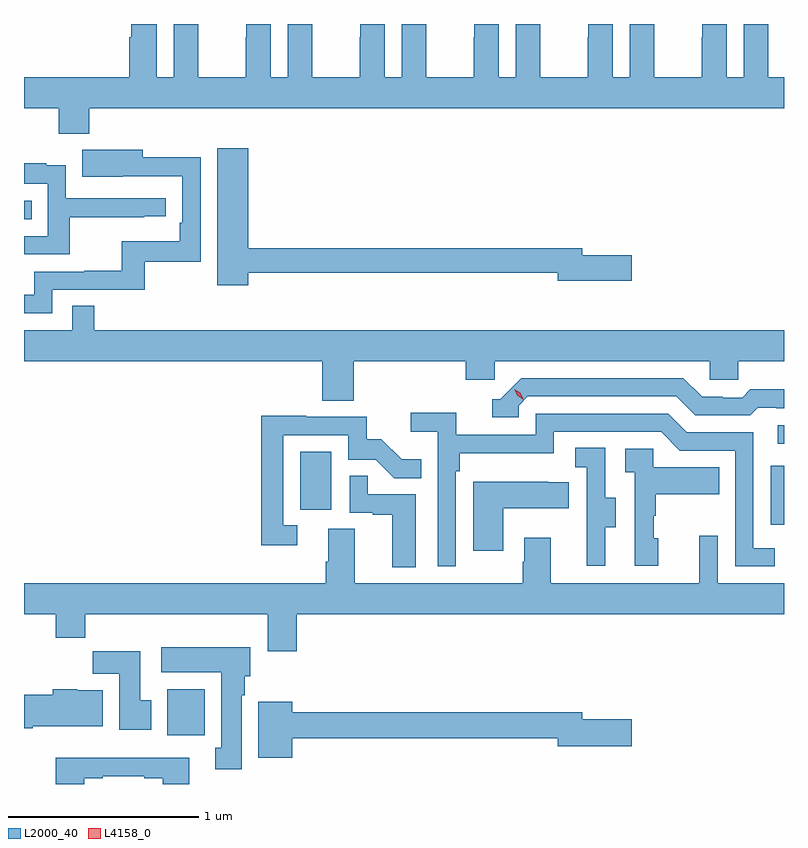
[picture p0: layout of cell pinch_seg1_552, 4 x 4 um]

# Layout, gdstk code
import gdstk
lib = gdstk.Library(unit=1e-6, precision=1e-09)
def R(c, l, rs):  # rectangles x0, y0, x1, y1
    for r in rs: c.add(gdstk.rectangle(r[:2], r[2:], *l))
def P(c, l, *ps):  # polygons
    for p in ps: c.add(gdstk.Polygon(p, *l))
L2000_40 = (2000, 40)
L4158_0 = (4158, 0)

pinch_seg1_552 = lib.new_cell('pinch_seg1_552')
R(pinch_seg1_552, L2000_40, [(1044.629,539.108,1044.826,539.35), (1047.804,540.216,1047.875,540.526), (1045.328,540.294,1045.492,540.601), (1047.843,540.642,1047.875,540.738), (1043.875,541.824,1043.915,541.92)])
P(pinch_seg1_552, L2000_40, [(1047.875,542.572),(1047.793,542.572),(1047.793,542.78),(1047.792,542.78),(1047.792,542.851),(1047.662,542.851),(1047.662,542.572),(1047.574,542.572),(1047.574,542.851),(1047.444,542.851),(1047.444,542.78),(1047.443,542.78),(1047.443,542.572),(1047.193,542.572),(1047.193,542.78),(1047.192,542.78),(1047.192,542.851),(1047.062,542.851),(1047.062,542.572),(1046.974,542.572),(1046.974,542.851),(1046.844,542.851),(1046.844,542.78),(1046.843,542.78),(1046.843,542.572),(1046.593,542.572),(1046.593,542.78),(1046.592,542.78),(1046.592,542.851),(1046.462,542.851),(1046.462,542.572),(1046.374,542.572),(1046.374,542.851),(1046.244,542.851),(1046.244,542.78),(1046.243,542.78),(1046.243,542.572),(1045.993,542.572),(1045.993,542.78),(1045.992,542.78),(1045.992,542.851),(1045.862,542.851),(1045.862,542.572),(1045.774,542.572),(1045.774,542.851),(1045.644,542.851),(1045.644,542.78),(1045.643,542.78),(1045.643,542.572),(1045.393,542.572),(1045.393,542.78),(1045.392,542.78),(1045.392,542.851),(1045.262,542.851),(1045.262,542.572),(1045.174,542.572),(1045.174,542.851),(1045.044,542.851),(1045.044,542.78),(1045.043,542.78),(1045.043,542.572),(1044.793,542.572),(1044.793,542.78),(1044.792,542.78),(1044.792,542.851),(1044.662,542.851),(1044.662,542.572),(1044.574,542.572),(1044.574,542.851),(1044.44,542.851),(1044.44,542.78),(1044.43,542.78),(1044.43,542.572),(1043.875,542.572),(1043.875,542.408),(1044.058,542.408),(1044.058,542.273),(1044.218,542.273),(1044.218,542.408),(1047.875,542.408)],
  [(1045.054,541.542),(1046.684,541.542),(1046.684,541.499),(1047.073,541.499),(1047.073,541.634),(1046.812,541.634),(1046.812,541.67),(1045.054,541.67),(1045.054,542.197),(1044.893,542.197),(1044.893,541.476),(1045.054,541.476)],
  [(1044.024,541.452),(1044.511,541.452),(1044.511,541.599),(1044.804,541.599),(1044.804,542.15),(1044.499,542.15),(1044.499,542.188),(1044.181,542.188),(1044.181,542.048),(1044.395,542.048),(1044.395,542.049),(1044.708,542.049),(1044.708,541.804),(1044.695,541.804),(1044.695,541.708),(1044.39,541.708),(1044.39,541.553),(1044.193,541.553),(1044.193,541.548),(1043.928,541.548),(1043.928,541.425),(1043.875,541.425),(1043.875,541.329),(1044.024,541.329)],
  [(1044.116,541.834),(1044.509,541.834),(1044.509,541.839),(1044.622,541.839),(1044.622,541.935),(1044.096,541.935),(1044.096,542.107),(1043.993,542.107),(1043.993,542.119),(1043.875,542.119),(1043.875,542.01),(1044,542.01),(1044,541.734),(1043.875,541.734),(1043.875,541.638),(1044.116,541.638)],
  [(1045.61,541.076),(1046.201,541.076),(1046.201,540.978),(1046.352,540.978),(1046.352,541.076),(1047.483,541.076),(1047.483,540.978),(1047.633,540.978),(1047.633,541.076),(1047.875,541.076),(1047.875,541.24),(1044.245,541.24),(1044.245,541.367),(1044.129,541.367),(1044.129,541.24),(1043.875,541.24),(1043.875,541.076),(1045.445,541.076),(1045.445,540.868),(1045.61,540.868)],
  [(1046.478,540.843),(1046.526,540.891),(1047.309,540.891),(1047.408,540.792),(1047.697,540.792),(1047.736,540.831),(1047.835,540.831),(1047.835,540.828),(1047.875,540.828),(1047.875,540.928),(1047.697,540.928),(1047.655,540.885),(1047.552,540.885),(1047.552,540.888),(1047.445,540.888),(1047.346,540.987),(1046.493,540.987),(1046.382,540.876),(1046.339,540.876),(1046.339,540.78),(1046.478,540.78)],
  [(1046.148,540.497),(1046.168,540.497),(1046.168,540.593),(1046.664,540.593),(1046.664,540.705),(1047.228,540.705),(1047.327,540.606),(1047.618,540.606),(1047.618,539.997),(1047.827,539.997),(1047.827,540.093),(1047.714,540.093),(1047.714,540.702),(1047.364,540.702),(1047.265,540.801),(1046.568,540.801),(1046.568,540.69),(1046.15,540.69),(1046.15,540.806),(1045.911,540.806),(1045.911,540.704),(1046.052,540.704),(1046.052,539.997),(1046.148,539.997)],
  [(1045.312,540.213),(1045.239,540.213),(1045.239,540.687),(1045.581,540.687),(1045.581,540.558),(1045.726,540.558),(1045.824,540.46),(1045.967,540.46),(1045.967,540.559),(1045.863,540.559),(1045.756,540.666),(1045.68,540.666),(1045.68,540.783),(1045.361,540.783),(1045.361,540.788),(1045.123,540.788),(1045.123,540.108),(1045.312,540.108)],
  [(1046.935,540.202),(1046.989,540.202),(1046.989,540.357),(1046.934,540.357),(1046.934,540.62),(1046.775,540.62),(1046.775,540.517),(1046.838,540.517),(1046.838,540.213),(1046.837,540.213),(1046.837,540),(1046.935,540)],
  [(1047.214,540.144),(1047.189,540.144),(1047.189,540.263),(1047.199,540.263),(1047.199,540.377),(1047.533,540.377),(1047.533,540.517),(1047.186,540.517),(1047.186,540.615),(1047.039,540.615),(1047.039,540.491),(1047.09,540.491),(1047.09,540),(1047.214,540)],
  [(1045.936,540.375),(1045.685,540.375),(1045.685,540.473),(1045.59,540.473),(1045.59,540.279),(1045.711,540.279),(1045.711,540.267),(1045.814,540.267),(1045.814,539.993),(1045.936,539.993)],
  [(1046.398,540.302),(1046.741,540.302),(1046.741,540.439),(1046.633,540.439),(1046.633,540.442),(1046.24,540.442),(1046.24,540.078),(1046.398,540.078)],
  [(1047.875,539.908),(1047.525,539.908),(1047.525,540.157),(1047.428,540.157),(1047.428,539.908),(1046.647,539.908),(1046.647,540.148),(1046.507,540.148),(1046.507,540.02),(1046.5,540.02),(1046.5,539.908),(1045.615,539.908),(1045.615,540.194),(1045.475,540.194),(1045.475,540.02),(1045.463,540.02),(1045.463,539.908),(1043.875,539.908),(1043.875,539.744),(1044.041,539.744),(1044.041,539.62),(1044.197,539.62),(1044.197,539.744),(1045.157,539.744),(1045.157,539.55),(1045.31,539.55),(1045.31,539.744),(1047.875,539.744)],
  [(1045.021,539.318),(1045.036,539.318),(1045.036,539.418),(1045.066,539.418),(1045.066,539.572),(1044.597,539.572),(1044.597,539.438),(1044.914,539.438),(1044.914,539.042),(1044.881,539.042),(1044.881,538.929),(1045.021,538.929)],
  [(1044.544,539.292),(1044.487,539.292),(1044.487,539.551),(1044.238,539.551),(1044.238,539.432),(1044.377,539.432),(1044.377,539.136),(1044.544,539.136)],
  [(1043.92,539.156),(1044.289,539.156),(1044.289,539.344),(1044.156,539.344),(1044.156,539.35),(1044.026,539.35),(1044.026,539.322),(1043.875,539.322),(1043.875,539.144),(1043.92,539.144)],
  [(1045.288,539.092),(1046.684,539.092),(1046.684,539.05),(1047.073,539.05),(1047.073,539.192),(1046.812,539.192),(1046.812,539.228),(1045.288,539.228),(1045.288,539.284),(1045.109,539.284),(1045.109,538.988),(1045.288,538.988)],
  [(1044.193,538.881),(1044.289,538.881),(1044.289,538.893),(1044.509,538.893),(1044.509,538.881),(1044.605,538.881),(1044.605,538.851),(1044.745,538.851),(1044.745,538.99),(1044.041,538.99),(1044.041,538.851),(1044.193,538.851)])
P(pinch_seg1_552, L4158_0, [(1046.501,540.876),(1046.471,540.896),(1046.455,540.929),(1046.455,540.929),(1046.455,540.929),(1046.486,540.909),(1046.502,540.876),(1046.502,540.876)])

lib.write_gds('pinch_seg1_552.gds')
